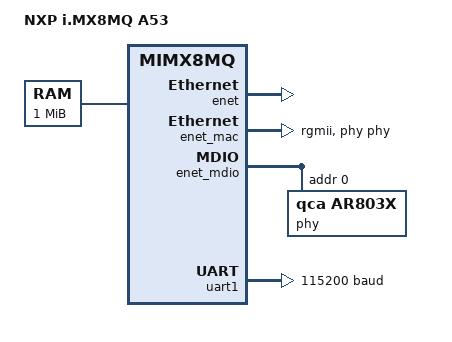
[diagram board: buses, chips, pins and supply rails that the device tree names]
/*
 * Copyright 2021-2024 NXP
 *
 * SPDX-License-Identifier: Apache-2.0
 */

/dts-v1/;

#include <nxp/nxp_mimx8mq_a53.dtsi>
#include "imx8mq_evk-pinctrl.dtsi"

/ {
	model = "NXP i.MX8MQ A53";
	compatible = "fsl,mimx8mq";

	chosen {
		zephyr,console = &uart1;
		zephyr,shell-uart = &uart1;
		zephyr,sram = &sram0;
	};

	cpus {
		cpu@0 {
			status = "disabled";
		};
		cpu@1 {
			status = "disabled";
		};
		cpu@2 {
			status = "disabled";
		};
	};

	sram0: memory@c0000000 {
		reg = <0xc0000000 DT_SIZE_M(1)>;
	};

};

&enet {
	status = "okay";
};

&enet_mac {
	pinctrl-0 = <&pinmux_enet>;
	pinctrl-names = "default";
	phy-handle = <&phy>;
	zephyr,random-mac-address;
	phy-connection-type = "rgmii";
	status = "okay";
};

&enet_mdio {
	pinctrl-0 = <&pinmux_mdio>;
	pinctrl-names = "default";
	status = "okay";
	phy: phy@0 {
		compatible = "qca,ar803x";
		reg = <0>;
		status = "okay";
		qca,disable-smarteee;
		qca,interface-type = "rgmii-id";
	};
};

&enet_ptp_clock {
	status = "okay";
	pinctrl-0 = <&pinmux_ptp>;
	pinctrl-names = "default";
};

&uart1 {
	status = "okay";
	current-speed = <115200>;
	clocks = <&ccm IMX_CCM_UART1_CLK 0x6c 24>;
	pinctrl-0 = <&uart1_default>;
	pinctrl-names = "default";
};
